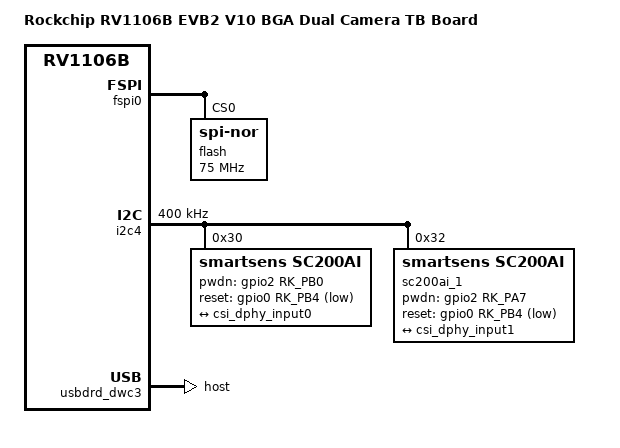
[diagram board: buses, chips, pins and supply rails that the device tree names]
// SPDX-License-Identifier: (GPL-2.0+ OR MIT)
/*
 * Copyright (c) 2026 Rockchip Electronics Co., Ltd.
 *
 * RV1106B EVB2 V10 BGA Dual-Camera Fastboot (Thunder Boot) DTS
 *
 * Design:
 *   - Board baseline: rv1106b-evb2-v10-bga.dtsi (BGA board GPIO mux)
 *   - Dual-camera topology: rv1106b-thunder-boot-dual-cam.dtsi (csi_dphy/mipi_csi2/vicap)
 *   - Boot media: rv1106b-thunder-boot-spi-nor.dtsi (SPI NOR TB)
 *   - Pin assignment:
 *       cam0: rst=GPIO0_B4 pwdn=GPIO2_B0 (MIPI_PWDN0)
 *       cam1: rst=GPIO0_B4 pwdn=GPIO2_A7 (MIPI_PWDN1)
 *   - Memory layout (consistent with V10_V11 DUAL_CAMERA non-AOV):
 *       meta      : 0x00800000  size 0xB0000  (704K)
 *       rkisp0    : 0x008B0000  size 0x54F000
 *       ramdisk_r : 0x00DFF000  size 12M
 *       ramdisk_c : 0x019FF000  size 5M
 *       rkisp1    : 0x01EFF000  size 0x54F000
 */

/dts-v1/;

#include "rv1106b.dtsi"
#include "rv1106b-evb2-v10.dtsi"
#include "rv1106b-thunder-boot-dual-cam.dtsi"
#include "rv1106b-thunder-boot-spi-nor.dtsi"

/ {
	model = "Rockchip RV1106B EVB2 V10 BGA Dual Camera TB Board";
	compatible = "rockchip,rv1106b-evb2-v10-bga-dual-cam-tb", "rockchip,rv1106b";

	chosen {
		bootargs = "loglevel=0 earlycon=uart8250,mmio32,0x20540000 console=ttyFIQ0 root=/dev/rd0 rootfstype=erofs rootflags=dax snd_soc_core.prealloc_buffer_size_kbytes=16 coherent_pool=32K";
	};
};

&acodec {
	pa-ctl-gpios = <&gpio0 RK_PB5 GPIO_ACTIVE_HIGH>;
};

&fspi0 {
	status = "okay";

	flash@0 {
		compatible = "jedec,spi-nor";
		reg = <0>;
		spi-max-frequency = <75000000>;
		spi-rx-bus-width = <4>;
		spi-tx-bus-width = <1>;
	};
};

&i2c4 {
	clock-frequency = <400000>;
	pinctrl-names = "default";
	pinctrl-0 = <&i2c4m1_xfer_pins>;
	rockchip,amp-shared;
	status = "okay";

	/* cam0: main sensor SC200AI, I2C addr 0x30, BGA board rst/pwdn */
	sc200ai: sc200ai@30 {
		compatible = "smartsens,sc200ai";
		reg = <0x30>;
		clocks = <&cru CLK_MIPI0_OUT2IO>;
		clock-names = "xvclk";
		pwdn-gpios = <&gpio2 RK_PB0 GPIO_ACTIVE_HIGH>;
		reset-gpios = <&gpio0 RK_PB4 GPIO_ACTIVE_LOW>;
		pinctrl-names = "default";
		pinctrl-0 = <&cam_clk0_pins>;
		rockchip,camera-module-index = <0>;
		rockchip,camera-module-facing = "back";
		rockchip,camera-module-name = "default";
		rockchip,camera-module-lens-name = "default";
		rockchip,camera-module-stb = <1>;

		port {
			cam0_out: endpoint {
				remote-endpoint = <&csi_dphy_input0>;
				data-lanes = <1 2>;
			};
		};
	};

	/* cam1: assist sensor SC200AI, I2C addr 0x32, BGA board pwdn=GPIO2_A7, rst shared */
	sc200ai_1: sc200ai_1@32 {
		compatible = "smartsens,sc200ai";
		reg = <0x32>;
		clocks = <&cru CLK_MIPI1_OUT2IO>;
		clock-names = "xvclk";
		pwdn-gpios = <&gpio2 RK_PA7 GPIO_ACTIVE_HIGH>;
		reset-gpios = <&gpio0 RK_PB4 GPIO_ACTIVE_LOW>;
		pinctrl-names = "default";
		pinctrl-0 = <&cam_clk1_pins>;
		rockchip,camera-module-index = <1>;
		rockchip,camera-module-facing = "back";
		rockchip,camera-module-name = "default";
		rockchip,camera-module-lens-name = "default";
		rockchip,camera-module-stb = <1>;

		port {
			cam1_out: endpoint {
				remote-endpoint = <&csi_dphy_input1>;
				data-lanes = <1 2>;
			};
		};
	};
};

&pinctrl {
	sdmmc {
		/omit-if-no-ref/
		sdmmc_pwren: sdmmc-pwren {
			rockchip,pins = <0 RK_PA0 RK_FUNC_GPIO &pcfg_pull_none>;
		};
	};
};

&meta {
	/* reg offset MUST match with RTOS */
	reg = <0x00800000 0xb0000>;
};

&rkisp_thunderboot {
	/* reg offset MUST match with RTOS */
	/*
	 * vicap, capture raw10, ceil(w*10/8/256)*256*h *2(buf num) + sizeof(rkisp_thunderboot_resmem_head)
	 * In RV1103B the size of rkisp_thunderboot_resmem_head is 0x9000, and it is 0x6000 in RV1103/RV1106
	 * e.g. 1920x1080: 0x546000(raw picture size * 2) + 0x9000 = 0x54f000
	 * 0x008b0000 = (meta reg offset) + (meta reg size)
	 *            = 0x00800000 + 0xb0000
	 */
	reg = <0x008b0000 0x54f000>;
};

&ramdisk_r {
	reg = <0xdff000 (12 * 0x00100000)>;
};

&ramdisk_c {
	reg = <0x19ff000 (5 * 0x00100000)>;
};

&rkisp1_thunderboot {
	/*
	 * vicap, capture raw10, ceil(w*10/8/256)*256*h *2(buf num) + sizeof(rkisp_thunderboot_resmem_head)
	 * In RV1103B the size of rkisp_thunderboot_resmem_head is 0x9000, and it is 0x6000 in RV1103/RV1106
	 * e.g. 1920x1080: 0x546000(raw picture size * 2) + 0x9000 = 0x54f000
	 * 0x1eff000  = (ramdisk_c reg offset) + (ramdisk_c reg size)
	 *            = 0x19ff000 + (5 * 0x00100000)
	 */
	reg = <0x1eff000 0x54f000>;
};

&usbdrd_dwc3 {
	dr_mode = "host";
};

&vcc3v3_sd {
	gpio = <&gpio0 RK_PA0 GPIO_ACTIVE_LOW>;
};
